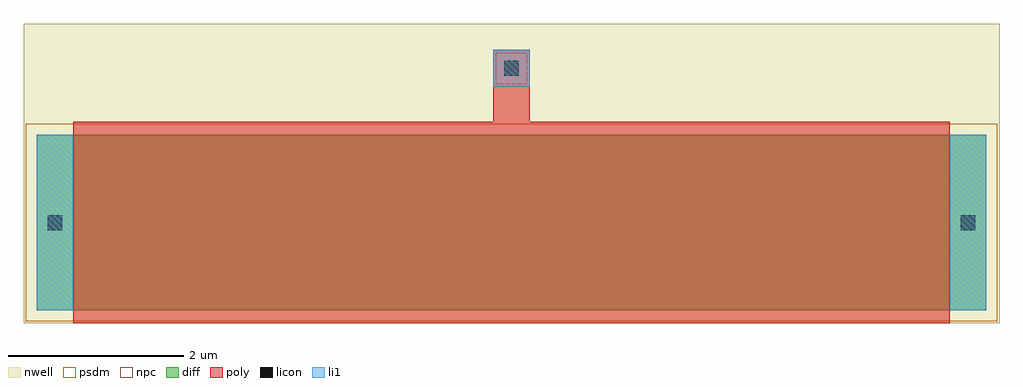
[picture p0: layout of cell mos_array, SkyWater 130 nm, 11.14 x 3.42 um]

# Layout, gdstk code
import gdstk
lib = gdstk.Library(unit=1e-6, precision=1e-09)
def R(c, l, rs):  # rectangles x0, y0, x1, y1
    for r in rs: c.add(gdstk.rectangle(r[:2], r[2:], *l))
nwell = (64, 20)
diff = (65, 20)
poly = (66, 20)
licon = (66, 44)
li1 = (67, 20)
psdm = (94, 20)
npc = (95, 20)

mos_array = lib.new_cell('mos_array')
R(mos_array, nwell, [(-0.15,-0.15,10.99,3.27)])
R(mos_array, diff, [(0,0,10.84,2)])
R(mos_array, poly, [(0.42,-0.15,10.42,2), (0.42,2,10.42,2.15), (0.42,2,10.42,2.15), (5.21,2.15,5.63,2.97)])
R(mos_array, licon, [(0.125,0.915,0.295,1.085), (10.545,0.915,10.715,1.085), (5.335,2.675,5.505,2.845)])
R(mos_array, li1, [(0,0,0.42,2), (10.42,0,10.84,2), (5.21,2.55,5.63,2.97)])
R(mos_array, psdm, [(-0.125,-0.125,10.965,2.125)])
R(mos_array, npc, [(5.24,2.58,5.6,2.94)])

lib.write_gds('mos_array.gds')
